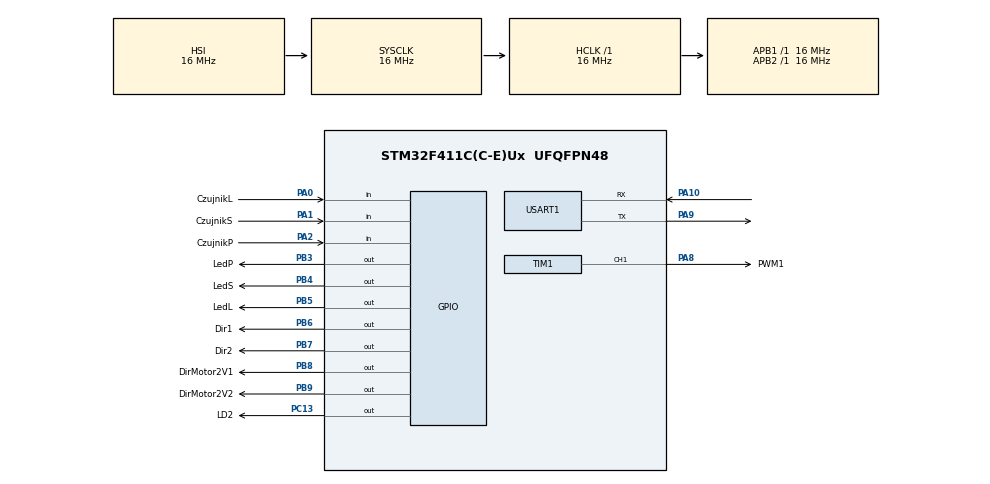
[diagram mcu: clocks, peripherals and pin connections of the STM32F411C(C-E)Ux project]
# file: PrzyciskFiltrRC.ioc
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Mcu.Family=STM32F4
Mcu.Name=STM32F411C(C-E)Ux
Mcu.Package=UFQFPN48
NVIC.PriorityGroup=NVIC_PRIORITYGROUP_4
PA0-WKUP.GPIO_Label=CzujnikL
PA0-WKUP.Signal=GPIO_Input
PA1.GPIO_Label=CzujnikS
PA1.Signal=GPIO_Input
PA10.Mode=Asynchronous
PA10.Signal=USART1_RX
PA13.Mode=Serial_Wire
PA13.Signal=SYS_JTMS-SWDIO
PA14.Mode=Serial_Wire
PA14.Signal=SYS_JTCK-SWCLK
PA2.GPIO_Label=CzujnikP
PA2.Signal=GPIO_Input
PA8.GPIO_Label=PWM1
PA8.Signal=S_TIM1_CH1
PA9.Mode=Asynchronous
PA9.Signal=USART1_TX
PB3.GPIO_Label=LedP
PB3.Signal=GPIO_Output
PB4.GPIO_Label=LedS
PB4.Signal=GPIO_Output
PB5.GPIO_Label=LedL
PB5.Signal=GPIO_Output
PB6.GPIO_Label=Dir1
PB6.Signal=GPIO_Output
PB7.GPIO_Label=Dir2
PB7.Signal=GPIO_Output
PB8.GPIO_Label=DirMotor2V1
PB8.Signal=GPIO_Output
PB9.GPIO_Label=DirMotor2V2
PB9.Signal=GPIO_Output
PC13-ANTI_TAMP.GPIO_Label=LD2
PC13-ANTI_TAMP.Signal=GPIO_Output
PC14-OSC32_IN.Mode=LSE-External-Oscillator
PC14-OSC32_IN.Signal=RCC_OSC32_IN
PC15-OSC32_OUT.Mode=LSE-External-Oscillator
PC15-OSC32_OUT.Signal=RCC_OSC32_OUT
PH0\ -\ OSC_IN.Mode=HSE-External-Oscillator
PH0\ -\ OSC_IN.Signal=RCC_OSC_IN
PH1\ -\ OSC_OUT.Mode=HSE-External-Oscillator
PH1\ -\ OSC_OUT.Signal=RCC_OSC_OUT
ProjectManager.HeapSize=0x200
ProjectManager.StackSize=0x400
ProjectManager.TargetToolchain=STM32CubeIDE
RCC.AHBFreq_Value=16000000
RCC.APB1Freq_Value=16000000
RCC.APB2Freq_Value=16000000
RCC.CortexFreq_Value=16000000
RCC.HSE_VALUE=25000000
RCC.HSI_VALUE=16000000
RCC.SYSCLKFreq_VALUE=16000000
RCC.VCOOutputFreq_Value=192000000
SH.S_TIM1_CH1.0=TIM1_CH1,PWM Generation1 CH1
TIM1.Channel-PWM\ Generation1\ CH1=TIM_CHANNEL_1
TIM1.Period=99
TIM1.Prescaler=1599
TIM1.Pulse-PWM\ Generation1\ CH1=80
TIM1.RepetitionCounter=0
USART1.VirtualMode=VM_ASYNC
VP_TIM1_VS_ClockSourceINT.Mode=Internal
board=custom

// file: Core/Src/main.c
/* USER CODE BEGIN Header */
/**
  ******************************************************************************
  * @file           : main.c
  * @brief          : Main program body
  ******************************************************************************
  * @attention
  *
  * Copyright (c) 2025 STMicroelectronics.
  * All rights reserved.
  *
  * This software is licensed under terms that can be found in the LICENSE file
  * in the root directory of this software component.
  * If no LICENSE file comes with this software, it is provided AS-IS.
  *
  ******************************************************************************
  */
/* USER CODE END Header */
#include "main.h"
#include "tim.h"
#include "usart.h"
#include "gpio.h"

/* USER CODE BEGIN Includes */
#include "stdint.h"
#include "motor_simple.h"
#include "sumo_strategy.h"
/* USER CODE END Includes */

/* USER CODE BEGIN PV */
uint8_t i;

Motor_t SilnikPrawy;
Motor_t SilnikLewy;
uint8_t PWM;
SumoMotors_t SumoMotors;

/* USER CODE END PV */

void SystemClock_Config(void);

int main(void)
{

  /* MCU Configuration--------------------------------------------------------*/

  /* Reset of all peripherals, Initializes the Flash interface and the Systick. */
  HAL_Init();

  /* Configure the system clock */
  SystemClock_Config();

  /* Initialize all configured peripherals */
  MX_GPIO_Init();
  MX_USART1_UART_Init();
  MX_TIM1_Init();
  /* USER CODE BEGIN 2 */
  HAL_TIM_PWM_Start(&htim1, TIM_CHANNEL_1);

  Motor_Init(&SilnikPrawy, &htim1, TIM_CHANNEL_1, PWM, Dir1_GPIO_Port, Dir1_Pin, Dir2_GPIO_Port, Dir2_Pin);
  Motor_Init(&SilnikLewy, &htim1, TIM_CHANNEL_2, PWM, DirMotor2V1_GPIO_Port, DirMotor2V1_Pin, DirMotor2V2_GPIO_Port, DirMotor2V2_Pin);
  Sumo_Init(&SumoMotors, &SilnikLewy, &SilnikPrawy);
  /* USER CODE END 2 */

  /* Infinite loop */
  /* USER CODE BEGIN WHILE */
  while (1)
  {
	  if(HAL_GPIO_ReadPin(CzujnikL_GPIO_Port, CzujnikL_Pin))
	  {
		  HAL_GPIO_WritePin(LedL_GPIO_Port, LedL_Pin, 0);
	  }
	  else
	  {

		  Sumo_SearchLeft(&SumoMotors);

		  HAL_GPIO_WritePin(LedL_GPIO_Port, LedL_Pin, 1);
	  }

	  if(HAL_GPIO_ReadPin(CzujnikS_GPIO_Port, CzujnikS_Pin))
	  {
	  		  HAL_GPIO_WritePin(LedS_GPIO_Port, LedS_Pin, GPIO_PIN_RESET);
	  }
	  else
	  {
		  	  SumoAtack(&SumoMotors);
	  		  HAL_GPIO_WritePin(LedS_GPIO_Port, LedS_Pin, GPIO_PIN_SET);

	  		  /*
	  		  for(i = 0; i < 100; i++)
	  		  {
	  			  __HAL_TIM_SET_COMPARE(&htim1, TIM_CHANNEL_1, i);
	  			  HAL_Delay(30);
	  		  }
	  		  for(i = 100; i > 0; i--)
	  		  {
	  			  __HAL_TIM_SET_COMPARE(&htim1, TIM_CHANNEL_1, i);
	  			  HAL_Delay(30);

	  		  }*/
	  }

	  if(HAL_GPIO_ReadPin(CzujnikP_GPIO_Port, CzujnikP_Pin))
	  {
	  		  HAL_GPIO_WritePin(LedP_GPIO_Port, LedP_Pin, GPIO_PIN_RESET);
	  }
	  else
	  {
		  Sumo_SearchRight(&SumoMotors);
		  HAL_GPIO_WritePin(LedP_GPIO_Port, LedP_Pin, GPIO_PIN_SET);
	  }

    /* USER CODE END WHILE */

  }
}

void SystemClock_Config(void)
{
  RCC_OscInitTypeDef RCC_OscInitStruct = {0};
  RCC_ClkInitTypeDef RCC_ClkInitStruct = {0};

  /** Configure the main internal regulator output voltage
  */
  __HAL_RCC_PWR_CLK_ENABLE();
  __HAL_PWR_VOLTAGESCALING_CONFIG(PWR_REGULATOR_VOLTAGE_SCALE1);

  /** Initializes the RCC Oscillators according to the specified parameters
  * in the RCC_OscInitTypeDef structure.
  */
  RCC_OscInitStruct.OscillatorType = RCC_OSCILLATORTYPE_HSI;
  RCC_OscInitStruct.HSIState = RCC_HSI_ON;
  RCC_OscInitStruct.HSICalibrationValue = RCC_HSICALIBRATION_DEFAULT;
  RCC_OscInitStruct.PLL.PLLState = RCC_PLL_NONE;
  if (HAL_RCC_OscConfig(&RCC_OscInitStruct) != HAL_OK)
  {
    Error_Handler();
  }

  /** Initializes the CPU, AHB and APB buses clocks
  */
  RCC_ClkInitStruct.ClockType = RCC_CLOCKTYPE_HCLK|RCC_CLOCKTYPE_SYSCLK
                              |RCC_CLOCKTYPE_PCLK1|RCC_CLOCKTYPE_PCLK2;
  RCC_ClkInitStruct.SYSCLKSource = RCC_SYSCLKSOURCE_HSI;
  RCC_ClkInitStruct.AHBCLKDivider = RCC_SYSCLK_DIV1;
  RCC_ClkInitStruct.APB1CLKDivider = RCC_HCLK_DIV1;
  RCC_ClkInitStruct.APB2CLKDivider = RCC_HCLK_DIV1;

  if (HAL_RCC_ClockConfig(&RCC_ClkInitStruct, FLASH_LATENCY_0) != HAL_OK)
  {
    Error_Handler();
  }
}

void Error_Handler(void)
{
  __disable_irq();
  while (1)
  {
  }
}
